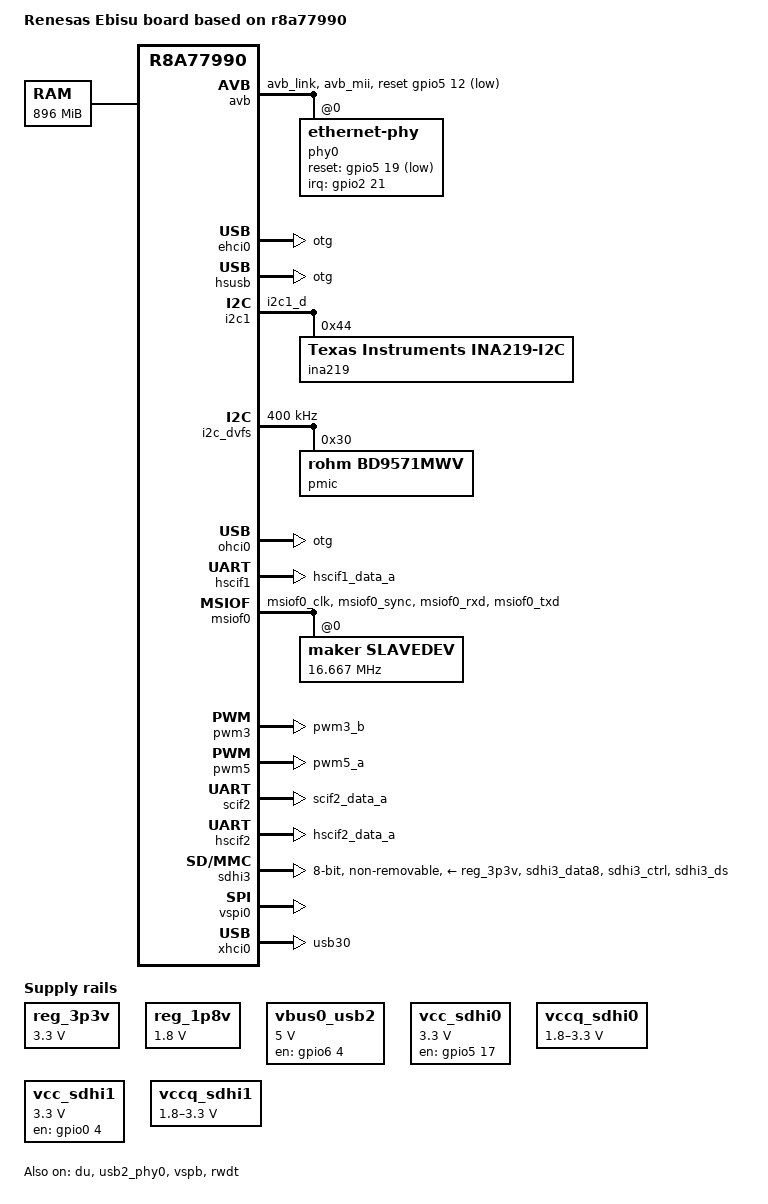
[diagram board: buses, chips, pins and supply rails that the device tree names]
/* SPDX-License-Identifier: GPL-2.0 */
/*
 * Device Tree Source for the ebisu board
 *
 * Copyright (C) 2018 Renesas Electronics Corp.
 */

/dts-v1/;
#include "r8a77990.dtsi"
#include "r8a77990_display.dtsi"
#include <dt-bindings/clock/r8a77990-cpg-mssr.h>
#include <dt-bindings/gpio/gpio.h>
#include <dt-bindings/power/r8a77990-sysc.h>

/ {
	model = "Renesas Ebisu board based on r8a77990";
	compatible = "renesas,ebisu", "renesas,r8a77990";

	aliases {
		serial0 = &scif2;
		ethernet0 = &avb;
		serial1 = &hscif2;
		serial2 = &hscif1;
	};

	chosen {
		bootargs = "ignore_loglevel";
		stdout-path = "serial0:115200n8";
	};

	memory@48000000 {
		device_type = "memory";
		/* first 128MB is reserved for secure area. */
		reg = <0x0 0x48000000 0x0 0x38000000>;
	};

	reserved-memory {
		#address-cells = <2>;
		#size-cells = <2>;
		ranges;

		/* For Audio DSP */
		adsp_reserved: linux,adsp@57000000 {
			compatible = "shared-dma-pool";
			reusable;
			reg = <0x00000000 0x57000000 0x0 0x01000000>;
		};

		/* global autoconfigured region for contiguous allocations */
		linux,cma@58000000 {
			compatible = "shared-dma-pool";
			reusable;
			reg = <0x00000000 0x58000000 0x0 0x10000000>;
			linux,cma-default;
		};

		/* device specific region for contiguous allocations */
		mmp_reserved: linux,multimedia@68000000 {
			compatible = "shared-dma-pool";
			reusable;
			reg = <0x00000000 0x68000000 0x0 0x04000000>;
		};
	};


	avb-mch@ec5a0100 {
		compatible = "renesas,avb-mch-gen3";
		reg =	<0 0xec5a0100 0 0x100>; 
		reg-name = "adg_avb";

		clocks = <&cpg CPG_MOD 922>;
		clock-names = "adg";
		resets = <&cpg 922>;
	};


	mmngr {
		compatible = "renesas,mmngr";
		memory-region = <&mmp_reserved>;
	};

	mmngrbuf {
		compatible = "renesas,mmngrbuf";
	};

	reg_3p3v: regulator1 {
		compatible = "regulator-fixed";
		regulator-name = "fixed-3.3V";
		regulator-min-microvolt = <3300000>;
		regulator-max-microvolt = <3300000>;
		regulator-boot-on;
		regulator-always-on;
	};

	x13_clk: x13 {
		compatible = "fixed-clock";
		#clock-cells = <0>;
		clock-frequency = <74250000>;
	};

	reg_1p8v: regulator0 {
		compatible = "regulator-fixed";
		regulator-name = "fixed-1.8V";
		regulator-min-microvolt = <1800000>;
		regulator-max-microvolt = <1800000>;
		regulator-boot-on;
		regulator-always-on;
	};



	vbus0_usb2: regulator-vbus0-usb2 {
		compatible = "regulator-fixed";

		regulator-name = "USB20_VBUS_CN";
		regulator-min-microvolt = <5000000>;
		regulator-max-microvolt = <5000000>;

		gpio = <&gpio6 4 GPIO_ACTIVE_HIGH>;
		enable-active-high;
	};

	vcc_sdhi0: regulator-vcc-sdhi0 {
		compatible = "regulator-fixed";

		regulator-name = "SDHI0 Vcc";
		regulator-min-microvolt = <3300000>;
		regulator-max-microvolt = <3300000>;

		gpio = <&gpio5 17 GPIO_ACTIVE_HIGH>;
		enable-active-high;
	};



	vccq_sdhi0: regulator-vccq-sdhi0 {
		compatible = "regulator-gpio";

		regulator-name = "SDHI0 VccQ";
		regulator-min-microvolt = <1800000>;
		regulator-max-microvolt = <3300000>;

		gpios = <&gpio5 18 GPIO_ACTIVE_HIGH>;
		gpios-states = <1>;
		states = <3300000 1
			  1800000 0>;
	};

	vcc_sdhi1: regulator-vcc-sdhi1 {
		compatible = "regulator-fixed";

		regulator-name = "SDHI1 Vcc";
		regulator-min-microvolt = <3300000>;
		regulator-max-microvolt = <3300000>;

		gpio = <&gpio0 4 GPIO_ACTIVE_HIGH>;
		enable-active-high;
	};

	vccq_sdhi1: regulator-vccq-sdhi1 {
		compatible = "regulator-gpio";

		regulator-name = "SDHI1 VccQ";
		regulator-min-microvolt = <1800000>;
		regulator-max-microvolt = <3300000>;

		gpios = <&gpio3 15 GPIO_ACTIVE_HIGH>;
		gpios-states = <1>;
		states = <3300000 1
			  1800000 0>;
	};
	vspm_if {
		compatible = "renesas,vspm_if";
	};

	x12_clk: x12 {
		compatible = "fixed-clock";
		#clock-cells = <0>;
		clock-frequency = <24576000>;
	};
};

&avb {
	pinctrl-0 = <&avb_pins>;
	pinctrl-names = "default";
	phy-handle = <&phy0>;
	//phy-mode = "rgmii-txid";
	phy-mode = "rgmii"; /*rgmii tx-id not support hardware*/
	status = "okay";

	reset-gpios = <&gpio5 12 GPIO_ACTIVE_LOW>;
    reset-delay-us = <20>;
    reset_post_delay_us = <300>;

	phy0: ethernet-phy@0 {
		reg = <0>;
		interrupt-parent = <&gpio2>;
		interrupts = <21 IRQ_TYPE_LEVEL_LOW>;
		reset-gpios = <&gpio5 19 GPIO_ACTIVE_LOW>;
		//wake-gpios = <&gpio5 18 GPIO_ACTIVE_HIGH>;
		//enable-gpios = <&gpio5 17 GPIO_ACTIVE_HIGH>;

	};
};


&du {
	pinctrl-0 = <&du_pins>;
	pinctrl-names = "default";
	status = "okay";

	clocks = <&cpg CPG_MOD 724>,
		 <&cpg CPG_MOD 723>,
		 <&x13_clk>;
	clock-names = "du.0", "du.1", "dclkin.0";
};

&ehci0 {
	dr_mode = "otg";
	status = "okay";
};

&extal_clk {
	clock-frequency = <48000000>;
};

&hsusb {
	dr_mode = "otg";
	status = "okay";
};


&i2c1 {
    status = "okay";

	pinctrl-0 = <&i2c1_pins>;
	pinctrl-names = "default";

    ina219@44 {
        compatible = "Texas Instruments,ina219-i2c";
        reg = <0x44>;

        ports {
            #address-cells = <1>;
            #size-cells = <0>;
        };
    };
};

&i2c_dvfs {
	status = "okay";

	clock-frequency = <400000>;

	pmic: pmic@30 {
		pinctrl-0 = <&irq0_pins>;
		pinctrl-names = "default";

		compatible = "rohm,bd9571mwv";
		reg = <0x30>;
		interrupt-parent = <&intc_ex>;
		interrupts = <0 IRQ_TYPE_LEVEL_LOW>;
		interrupt-controller;
		#interrupt-cells = <2>;
		gpio-controller;
		#gpio-cells = <2>;
	};
};


&ohci0 {
	dr_mode = "otg";
	status = "okay";
};

&pfc {
	avb_pins: avb {
		mux {
			groups = "avb_link", "avb_mii";
			function = "avb";
		};
	};

	du_pins: du {
		//groups = "du_rgb888", "du_sync", "du_clk_out_0";
		groups = "du_rgb888", "du_sync", "du_disp", "du_clk_out_0";
		function = "du";
	};

	irq0_pins: irq0 {
		groups = "intc_ex_irq0";
		function = "intc_ex";
	};

	pwm3_pins: pwm3 {
		groups = "pwm3_b";
		function = "pwm3";
	};

	pwm5_pins: pwm5 {
		groups = "pwm5_a";
		function = "pwm5";
	};

	scif2_pins: scif2 {
		groups = "scif2_data_a";
		function = "scif2";
	};

	hscif2_pins: hscif2 {
		groups = "hscif2_data_a";
		function = "hscif2";
	};

	sdhi0_pins: sd0 {
		groups = "sdhi0_data4", "sdhi0_ctrl";
		function = "sdhi0";
		power-source = <3300>;
	};

	sdhi0_pins_uhs: sd0_uhs {
		groups = "sdhi0_data4", "sdhi0_ctrl";
		function = "sdhi0";
		power-source = <1800>;
	};

	sdhi1_pins: sd1 {
		groups = "sdhi1_data4", "sdhi1_ctrl";
		function = "sdhi1";
		power-source = <3300>;
	};

	sdhi1_pins_uhs: sd1_uhs {
		groups = "sdhi1_data4", "sdhi1_ctrl";
		function = "sdhi1";
		power-source = <1800>;
	};

	sdhi3_pins: sd3 {
		groups = "sdhi3_data8", "sdhi3_ctrl", "sdhi3_ds";
		function = "sdhi3";
		power-source = <3300>;
	};

	sdhi3_pins_uhs: sd3_uhs {
		groups = "sdhi3_data8", "sdhi3_ctrl", "sdhi3_ds";
		function = "sdhi3";
		power-source = <1800>;
	};

	usb0_pins: usb {
		//groups = "usb0_b";
		groups = "usb0_b", "usb0_id";
		function = "usb0";
	};

	usb30_pins: usb30 {
		groups = "usb30";
		function = "usb30";
	};

	i2c1_pins: i2c1 {
		groups = "i2c1_d";
		function = "i2c1";
	};

	i2c3_pins: i2c3 {
		groups = "i2c3";
		function = "i2c3";
	};

	sound_pins: sound {
		groups = "ssi01239_ctrl", "ssi0_data", "ssi1_data";
		function = "ssi";
	};

	sound_clk_pins: sound_clk {
		groups = "audio_clk_a", "audio_clk_b_a", "audio_clk_c_a",
			 "audio_clkout_a", "audio_clkout1_a";
		function = "audio_clk";
	};

	hscif1_pins: hscif1{
		groups = "hscif1_data_a";
		function = "hscif1";
	};

	msiof0_pins: spi0 {
		groups = "msiof0_clk", "msiof0_sync",
		"msiof0_rxd", "msiof0_txd";
		function = "msiof0";
	};
};


&hscif1 {
	pinctrl-0 = <&hscif1_pins>;
	pinctrl-names = "default";

	status = "okay";
};

&msiof_ref_clk {
	clock-frequency = <133333333>; 
};

&msiof0 {
	pinctrl-0 = <&msiof0_pins>;
	pinctrl-names = "default";
	status = "okay"; 
	/* Add a subnode. */
	slavedev: spidev@0 {
		compatible = "maker,slavedev";
		reg = <0>;
		spi-max-frequency = <16666666>;
		spi-cpha;
		spi-cpol;
	};
};

&pwm3 {
	pinctrl-0 = <&pwm3_pins>;
	pinctrl-names = "default";

	status = "okay";
};

&pwm5 {
	pinctrl-0 = <&pwm5_pins>;
	pinctrl-name = "default";

	status = "okay";
};

&scif2 {
	pinctrl-0 = <&scif2_pins>;
	pinctrl-names = "default";

	status = "okay";
};

&hscif2 {
	pinctrl-0 = <&hscif2_pins>;
	pinctrl-names = "default";

	status = "okay";
};

&ssi1 {
	shared-pin;
};

&sdhi3 {
	/* used for on-board 8bit eMMC */
	pinctrl-0 = <&sdhi3_pins>;
	pinctrl-1 = <&sdhi3_pins_uhs>;
	pinctrl-names = "default", "state_uhs";

	iommus = <&ipmmu_ds1 35>;

	vmmc-supply = <&reg_3p3v>;
	vqmmc-supply = <&reg_1p8v>;
	mmc-hs200-1_8v;
	mmc-hs400-1_8v;
	bus-width = <8>;
	no-sd;
	no-sdio;
	non-removable;
	status = "okay";
};



&usb2_phy0 {
	pinctrl-0 = <&usb0_pins>;
	pinctrl-names = "default";

	vbus-supply = <&vbus0_usb2>;
	status = "okay";
};

&vspb {
	status = "okay";
};

&vspi0 {
	status = "okay";
};

&rwdt {
	timeout-sec = <60>;
	status = "okay";
};
&xhci0 {
	pinctrl-0 = <&usb30_pins>;
	pinctrl-names = "default";

	status = "okay";
};
